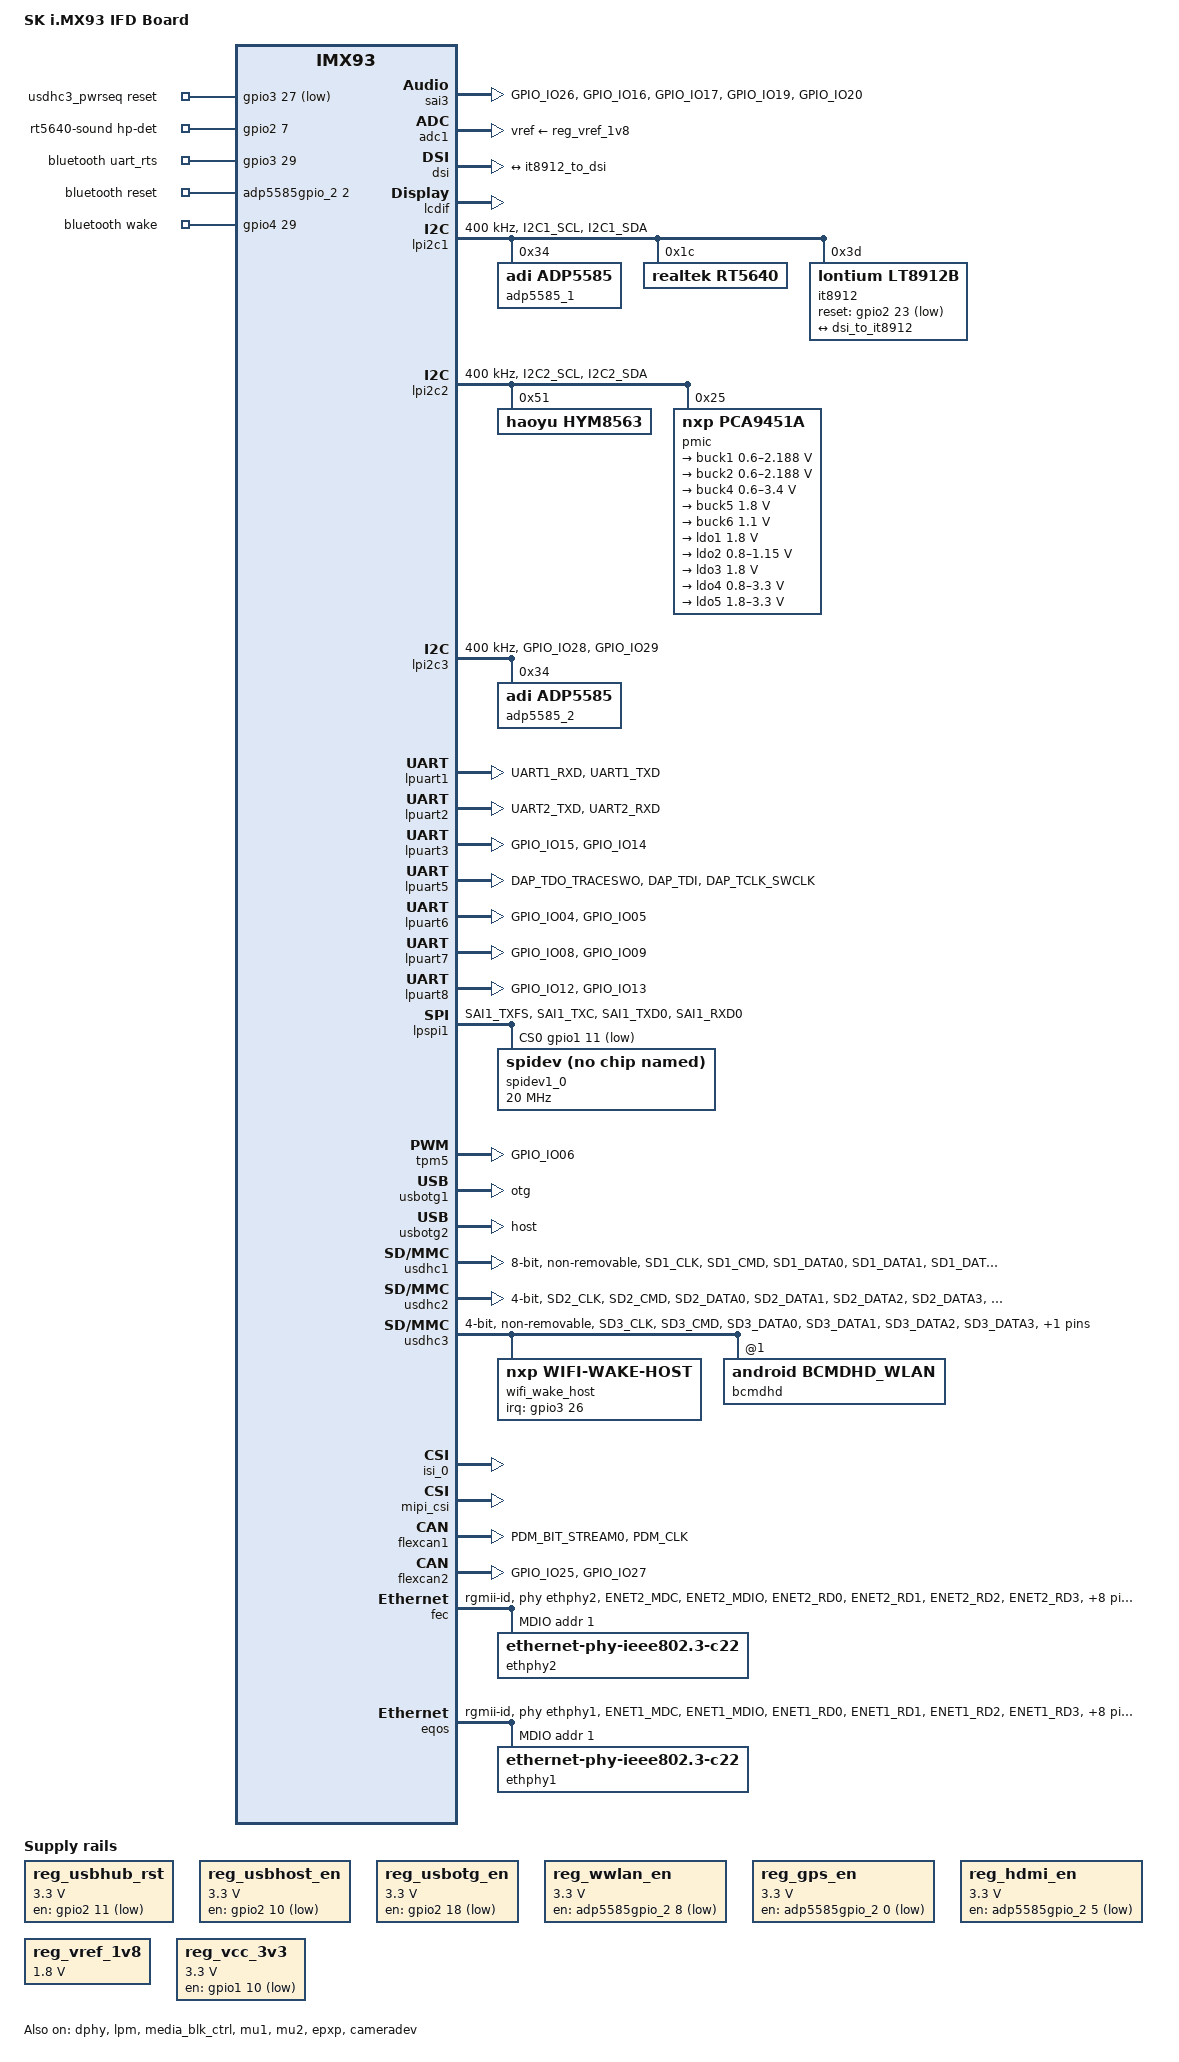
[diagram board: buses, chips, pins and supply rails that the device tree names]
/dts-v1/;

#include <dt-bindings/usb/pd.h>
#include "imx93.dtsi"

&ele_mu {
    memory-region = <&ele_reserved>;
};

/ {
    model = "SK i.MX93 IFD Board";
    compatible = "sk,imx93", "fsl,imx93";

    chosen {
        stdout-path = &lpuart1;
    };
    
    reserved-memory {
        #address-cells = <2>;
        #size-cells = <2>;
        ranges;

        linux,cma {
            compatible = "shared-dma-pool";
            reusable;
            alloc-ranges = <0 0x80000000 0 0x40000000>;
            size = <0 0x10000000>;
            linux,cma-default;
        };

        ethosu_mem: ethosu_region@C0000000 {
            compatible = "shared-dma-pool";
            reusable;
            reg = <0x0 0xC0000000 0x0 0x10000000>;
        };

        vdev0vring0: vdev0vring0@a4000000 {
            reg = <0 0xa4000000 0 0x8000>;
            no-map;
        };

        vdev0vring1: vdev0vring1@a4008000 {
            reg = <0 0xa4008000 0 0x8000>;
            no-map;
        };

        vdev1vring0: vdev1vring0@a4000000 {
            reg = <0 0xa4010000 0 0x8000>;
            no-map;
        };

        vdev1vring1: vdev1vring1@a4018000 {
            reg = <0 0xa4018000 0 0x8000>;
            no-map;
        };

        rsc_table: rsc-table@2021e000 {
            reg = <0 0x2021e000 0 0x1000>;
            no-map;
        };

        vdevbuffer: vdevbuffer@a4020000 {
            compatible = "shared-dma-pool";
            reg = <0 0xa4020000 0 0x100000>;
            no-map;
        };

        ele_reserved: ele-reserved@a4120000 {
            compatible = "shared-dma-pool";
            reg = <0 0xa4120000 0 0x100000>;
            no-map;
        };
    };

    cm33: imx93-cm33 {
        compatible = "fsl,imx93-cm33";
        mbox-names = "tx", "rx", "rxdb";
        mboxes = <&mu1 0 1
              &mu1 1 1
              &mu1 3 1>;
        memory-region = <&vdevbuffer>, <&vdev0vring0>, <&vdev0vring1>,
                <&vdev1vring0>, <&vdev1vring1>, <&rsc_table>;
        fsl,startup-delay-ms = <500>;
    };

    ethosu {
        compatible = "arm,ethosu";
        fsl,cm33-proc = <&cm33>;
        memory-region = <&ethosu_mem>;
        power-domains = <&mlmix>;
    };

    reg_usbhub_rst: regulator-usbhub-rst {
        compatible = "regulator-fixed";
		regulator-name = "reg_usbhub_rst";
		regulator-min-microvolt = <3300000>;
		regulator-max-microvolt = <3300000>;
		gpio = <&gpio2 11 GPIO_ACTIVE_HIGH>;
    }

    reg_usbhost_en: regulator-usbhost-en {
        compatible = "regulator-fixed";
		regulator-name = "reg_usbhost_en";
		regulator-min-microvolt = <3300000>;
		regulator-max-microvolt = <3300000>;
		gpio = <&gpio2 10 GPIO_ACTIVE_HIGH>;
    }

    reg_usbotg_en: regulator-usbotg-en {
        compatible = "regulator-fixed";
		regulator-name = "reg_usbotg_en";
		regulator-min-microvolt = <3300000>;
		regulator-max-microvolt = <3300000>;
		gpio = <&gpio2 18 GPIO_ACTIVE_HIGH>;
    }

    reg_wwlan_en: regulator-wwlan-en {
        compatible = "regulator-fixed";
		regulator-name = "reg_wwlan_en";
		regulator-min-microvolt = <3300000>;
		regulator-max-microvolt = <3300000>;
		gpio = <&adp5585gpio_2 8 GPIO_ACTIVE_HIGH>;
    }

    reg_gps_en: regulator-gps-en {
        compatible = "regulator-fixed";
		regulator-name = "reg_gps_en";
		regulator-min-microvolt = <3300000>;
		regulator-max-microvolt = <3300000>;
		gpio = <&adp5585gpio_2 0 GPIO_ACTIVE_HIGH>;
    }

    reg_hdmi_en: regulator-hdmi-en {
        compatible = "regulator-fixed";
		regulator-name = "reg_hdmi_en";
		regulator-min-microvolt = <3300000>;
		regulator-max-microvolt = <3300000>;
		gpio = <&adp5585gpio_2 5 GPIO_ACTIVE_HIGH>;
    }

    reg_vref_1v8: regulator-adc-vref {
        compatible = "regulator-fixed";
        regulator-name = "vref_1v8";
        regulator-min-microvolt = <1800000>;
        regulator-max-microvolt = <1800000>;
    };

    reg_vcc_3v3: regulator-vcc-3v3 {
        compatible = "regulator-fixed";
		regulator-name = "reg_vcc_3v3";
		regulator-min-microvolt = <3300000>;
		regulator-max-microvolt = <3300000>;
		gpio = <&gpio1 10 GPIO_ACTIVE_HIGH>;
    }

    usdhc3_pwrseq: usdhc3_pwrseq {
        status = "okay";
        compatible = "mmc-pwrseq-simple";
        pinctrl-names = "default";
        pinctrl-0 = <&pinctrl_wifi_reg_on>;
        reset-gpios = <&gpio3 27 GPIO_ACTIVE_LOW>;
        clocks = <&hym8563>;
        clock-names = "ext_clock";
    };

    rt5640-sound {
        compatible = "simple-audio-card";
        simple-audio-card,format = "i2s";
        simple-audio-card,name = "rt5640-codec";
        simple-audio-card,mclk-fs = <256>;
        simple-audio-card,widgets =
            "Microphone", "Mic Jack",
            "Headphone", "Headphone Jack",
            "Speaker", "Speaker";
        simple-audio-card,routing =
            "Mic Jack", "MICBIAS1",
            "IN1P", "Mic Jack",
            "Headphone Jack", "HPOL",
            "Headphone Jack", "HPOR",
            "Speaker", "SPOLP",
            "Speaker", "SPOLN",
            "Speaker", "SPORP",
            "Speaker", "SPORN";
        pinctrl-names = "default";
        pinctrl-0 = <&pinctrl_rt5640_hp_det>;
        simple-audio-card,hp-det-gpio = <&gpio2 7 GPIO_ACTIVE_HIGH>;
        simple-audio-card,cpu {
            sound-dai = <&sai3>;
        };
        simple-audio-card,codec {
            sound-dai = <&rt5640>;
        };
    };

    sound-micfil {
        compatible = "fsl,imx-audio-card";
        model = "micfil-audio";
        pri-dai-link {
            link-name = "micfil hifi";
            format = "i2s";
            cpu {
                sound-dai = <&micfil>;
            };
        };
    };    

    bt_sco_codec: bt_sco_codec {
        status = "disabled";
        #sound-dai-cells = <1>;
        compatible = "linux,bt-sco";
    };

    sound-bt-sco {
        status="disabled";
        compatible = "simple-audio-card";
        simple-audio-card,name = "bt-sco-audio";
        simple-audio-card,format = "dsp_a";
        simple-audio-card,bitclock-inversion;
        simple-audio-card,frame-master = <&btcpu>;
        simple-audio-card,bitclock-master = <&btcpu>;

        btcpu: simple-audio-card,cpu {
            sound-dai = <&sai1>;
            dai-tdm-slot-num = <2>;
            dai-tdm-slot-width = <16>;
        };

        simple-audio-card,codec {
            sound-dai = <&bt_sco_codec 1>;
        };
    };

    sound-xcvr {
        compatible = "fsl,imx-audio-card";
        model = "imx-audio-xcvr";
        pri-dai-link {
            link-name = "XCVR PCM";
            cpu {
                sound-dai = <&xcvr>;
            };
        };
    };

    bluetooth: bluetooth {
        compatible = "bluetooth-platdata";
        pinctrl-names = "default", "rts_gpio";
        pinctrl-0 = <&pinctrl_uart5_rts>, <&pinctrl_rts_gpio>;
        pinctrl-1 = <&pinctrl_bt_gpios>;
        uart_rts_gpios = <&gpio3 29 GPIO_ACTIVE_HIGH>;
        BT,reset_gpio = <&adp5585gpio_2 2 GPIO_ACTIVE_HIGH>;
        BT,wake_gpio = <&gpio4 29 GPIO_ACTIVE_HIGH>;
        //BT,wake_host_irq = <&gpio2 10 GPIO_ACTIVE_HIGH>;
        status = "okay";
    };
};

//disabled default soc rtc
&bbnsm_rtc {
    status = "disabled";
};

&sai1 {
    #sound-dai-cells = <0>;
    pinctrl-names = "default";
    pinctrl-0 = <&pinctrl_sai1>;
    assigned-clocks = <&clk IMX93_CLK_SAI1>;
    assigned-clock-parents = <&clk IMX93_CLK_AUDIO_PLL>;
    assigned-clock-rates = <12288000>;
    status = "disabled";
};

&sai3 {
    assigned-clocks = <&clk IMX93_CLK_SAI3>;
    assigned-clock-parents = <&clk IMX93_CLK_AUDIO_PLL>;
    assigned-clock-rates = <12288000>;
    fsl,sai-mclk-direction-output;
    status = "okay";

    #sound-dai-cells = <0>;
    pinctrl-names = "default";
    pinctrl-0 = <&pinctrl_sai3>;
};

&micfil {
    #sound-dai-cells = <0>;
    pinctrl-names = "default";
    pinctrl-0 = <&pinctrl_pdm>;
    assigned-clocks = <&clk IMX93_CLK_PDM>;
    assigned-clock-parents = <&clk IMX93_CLK_AUDIO_PLL>;
    assigned-clock-rates = <49152000>;
    status = "disabled";
};

&xcvr {
    #sound-dai-cells = <0>;
    pinctrl-names = "default";
    pinctrl-0 = <&pinctrl_spdif>;
    clocks = <&clk IMX93_CLK_BUS_WAKEUP>,
        <&clk IMX93_CLK_SPDIF_GATE>,
        <&clk IMX93_CLK_DUMMY>,
        <&clk IMX93_CLK_AUD_XCVR_GATE>,
        <&clk IMX93_CLK_AUDIO_PLL>;
    clock-names = "ipg", "phy", "spba", "pll_ipg", "pll8k";
    assigned-clocks = <&clk IMX93_CLK_SPDIF>,
             <&clk IMX93_CLK_AUDIO_XCVR>;
    assigned-clock-parents = <&clk IMX93_CLK_AUDIO_PLL>,
             <&clk IMX93_CLK_SYS_PLL_PFD1_DIV2>;
    assigned-clock-rates = <12288000>, <200000000>;
    status = "disabled";
};

&adc1 {
    vref-supply = <&reg_vref_1v8>;
    status = "okay";
};

&dphy {
    status = "okay";
};

&dsi {
	status = "okay";

	ports {
		port@1 {
			reg = <1>;

			dsi_to_it8912: endpoint {
                compatible = "hdmi-connector";
				remote-endpoint = <&it8912_to_dsi>;
			};
		};
	};
};

&lcdif {
    status = "okay";
    assigned-clock-rates = <445333333>, <148444444>, <400000000>, <133333333>;
};

&lpm {
    soc-supply = <&buck1>;
    status = "okay";
};

&lpi2c1 {
    #address-cells = <1>;
    #size-cells = <0>;
    clock-frequency = <400000>;
    pinctrl-names = "default", "sleep";
    pinctrl-0 = <&pinctrl_lpi2c1>;
    pinctrl-1 = <&pinctrl_lpi2c1>;
    status = "okay";

    //U24
    adp5585_1: mfd1@34 {
        compatible = "adi,adp5585";
        reg = <0x34>;
        status = "okay";

        adp5585gpio_1: gpio1@34 {
            compatible = "adp5585-gpio";
            gpio-controller;
            #gpio-cells = <2>;
        };
        
        adp5585pwm_1: pwm1@34 {
            compatible = "adp5585-pwm";
            #pwm-cells = <3>;
        };
    };

    rt5640: rt5640@1c {
        #sound-dai-cells = <0>;
        compatible = "realtek,rt5640";
        reg = <0x1c>;
        clocks = <&clk IMX93_CLK_SAI3_GATE>;
        clock-names = "mclk";
        realtek,in1-differential;
        status = "okay";
    };

    it8912: hdmi@3d {
		compatible = "lontium,lt8912b";
		reg = <0x3d>;
        reset-gpio = <&gpio2 23 GPIO_ACTIVE_LOW>;
		status = "okay";

		port {
			it8912_to_dsi: endpoint {
                data-lanes = <4>;
				remote-endpoint = <&dsi_to_it8912>;
			};
		};
	};
};

&lpi2c2 {
    #address-cells = <1>;
    #size-cells = <0>;
    clock-frequency = <400000>;
    pinctrl-names = "default", "sleep";
    pinctrl-0 = <&pinctrl_lpi2c2>;
    pinctrl-1 = <&pinctrl_lpi2c2>;
    status = "okay";

    hym8563:rtc-hym8563@51 {
        status = "okay";
        compatible = "haoyu,hym8563";
        reg = <0x51>;
        #clock-cells = <0>;
        clock-output-names = "hym8563-out32k";
    };

    pmic:pmic@25 {
        compatible = "nxp,pca9451a";
        reg = <0x25>;
        
        //not need irq config
        /delete-property/ interrupt-parent;
        /delete-property/ interrupts;

        regulators {
            buck1: BUCK1 {
                regulator-name = "BUCK1";
                regulator-min-microvolt = <600000>;
                regulator-max-microvolt = <2187500>;
                regulator-boot-on;
                regulator-always-on;
                regulator-ramp-delay = <3125>;
            };

            buck2: BUCK2 {
                regulator-name = "BUCK2";
                regulator-min-microvolt = <600000>;
                regulator-max-microvolt = <2187500>;
                regulator-boot-on;
                regulator-always-on;
                regulator-ramp-delay = <3125>;
            };

            buck4: BUCK4{
                regulator-name = "BUCK4";
                regulator-min-microvolt = <600000>;
                regulator-max-microvolt = <3400000>;
                regulator-boot-on;
                regulator-always-on;
            };

            buck5: BUCK5{
                regulator-name = "BUCK5";
                regulator-min-microvolt = <1800000>;
                regulator-max-microvolt = <1800000>;
                regulator-boot-on;
                regulator-always-on;
            };

            buck6: BUCK6 {
                regulator-name = "BUCK6";
                regulator-min-microvolt = <1100000>;
                regulator-max-microvolt = <1100000>;
                regulator-boot-on;
                regulator-always-on;
            };

            ldo1: LDO1 {
                regulator-name = "LDO1";
                regulator-min-microvolt = <1800000>;
                regulator-max-microvolt = <1800000>;
                regulator-boot-on;
                regulator-always-on;
            };

            ldo2: LDO2 {
                regulator-name = "LDO2";
                regulator-min-microvolt = <800000>;
                regulator-max-microvolt = <1150000>;
                regulator-boot-on;
                regulator-always-on;
            };

            ldo3: LDO3 {
                regulator-name = "LDO3";
                regulator-min-microvolt = <1800000>;
                regulator-max-microvolt = <1800000>;
                regulator-boot-on;
                regulator-always-on;
            };

            ldo4: LDO4 {
                regulator-name = "LDO4";
                regulator-min-microvolt = <800000>;
                regulator-max-microvolt = <3300000>;
                regulator-boot-on;
                regulator-always-on;
            };

            ldo5: LDO5 {
                regulator-name = "LDO5";
                regulator-min-microvolt = <1800000>;
                regulator-max-microvolt = <3300000>;
                regulator-boot-on;
                regulator-always-on;
            };
        };
    };
};

&lpi2c3 {
    #address-cells = <1>;
    #size-cells = <0>;
    clock-frequency = <400000>;
    pinctrl-names = "default", "sleep";
    pinctrl-0 = <&pinctrl_lpi2c3>;
    pinctrl-1 = <&pinctrl_lpi2c3>;
    status = "okay";

    //U25
    adp5585_2: mfd2@34 {
        compatible = "adi,adp5585";
        reg = <0x34>;
        status = "okay";

        adp5585gpio_2: gpio2@34 {
            compatible = "adp5585-gpio";
            gpio-controller;
            #gpio-cells = <2>;
        };
        
        adp5585pwm_2: pwm2@34 {
            compatible = "adp5585-pwm";
            #pwm-cells = <3>;
        };
    };
};

//debug
&lpuart1 { /* console */
    pinctrl-names = "default";
    pinctrl-0 = <&pinctrl_uart1>;
    status = "okay";
};

//ttl
&lpuart2 {
	pinctrl-names = "default";
	pinctrl-0 = <&pinctrl_uart2>;
	status = "okay";
};

//ttl
&lpuart3 {
	pinctrl-names = "default";
	pinctrl-0 = <&pinctrl_uart3>;
	status = "okay";
};

&lpuart5 {
    pinctrl-names = "default";
    pinctrl-0 = <&pinctrl_uart5>;
    status = "okay";
};

//rs232
&lpuart6 {
	pinctrl-names = "default";
	pinctrl-0 = <&pinctrl_uart6>;
	status = "okay";
};

//rs232
&lpuart7 {
	pinctrl-names = "default";
	pinctrl-0 = <&pinctrl_uart7>;
	status = "okay";
};

//gps
&lpuart8 {
	pinctrl-names = "default";
	pinctrl-0 = <&pinctrl_uart8>;
	status = "okay";
};

&lpspi1 {
    status = "okay";
    pinctrl-names = "default";
    pinctrl-0 = <&pinctrl_lpspi1>;
    cs-gpios = <&gpio1 11 GPIO_ACTIVE_LOW>;

    spidev1_0: spidev1@0 {
        reg = <0>;
        status = "okay";
        compatible = "rohm,dh2228fv";
        spi-max-frequency = <20000000>;
    };
};

&media_blk_ctrl {
    status = "okay";
};

&tpm5 {
    pinctrl-names = "default";
    pinctrl-0 = <&pinctrl_pwm5>;
    status = "okay";
};

&mu1 {
    status = "okay";
};

&mu2 {
    status = "okay";
};

&usbotg1 {
    // dr_mode = "host";
    dr_mode = "otg";
    hnp-disable;
    srp-disable;
    adp-disable;
    usb-role-switch;
    disable-over-current;
    samsung,picophy-pre-emp-curr-control = <3>;
    samsung,picophy-dc-vol-level-adjust = <7>;
    status = "okay";
};

&usbotg2 {
    dr_mode = "host";
    // dr_mode = "otg";
    hnp-disable;
    srp-disable;
    adp-disable;
    usb-role-switch;
    disable-over-current;
    samsung,picophy-pre-emp-curr-control = <3>;
    samsung,picophy-dc-vol-level-adjust = <7>;
    status = "okay";
};

&usdhc1 {
    pinctrl-names = "default", "state_100mhz", "state_200mhz";
    pinctrl-0 = <&pinctrl_usdhc1>;
    pinctrl-1 = <&pinctrl_usdhc1_100mhz>;
    pinctrl-2 = <&pinctrl_usdhc1_200mhz>;
    bus-width = <8>;
    non-removable;
    status = "okay";
};

&usdhc2 {
    pinctrl-names = "default", "state_100mhz", "state_200mhz";
    pinctrl-0 = <&pinctrl_usdhc2>, <&pinctrl_usdhc2_gpio>;
    pinctrl-1 = <&pinctrl_usdhc2_100mhz>, <&pinctrl_usdhc2_gpio>;
    pinctrl-2 = <&pinctrl_usdhc2_100mhz>, <&pinctrl_usdhc2_gpio>;
    cd-gpios = <&gpio3 00 GPIO_ACTIVE_LOW>;
    bus-width = <4>;
    status = "okay";
    no-sdio;
    no-mmc;
};

&usdhc3 {
    pinctrl-names = "default", "state_100mhz", "state_200mhz";
    pinctrl-0 = <&pinctrl_usdhc3>, <&pinctrl_usdhc3_wlan>;
    pinctrl-1 = <&pinctrl_usdhc3>, <&pinctrl_usdhc3_wlan>;
    pinctrl-2 = <&pinctrl_usdhc3>, <&pinctrl_usdhc3_wlan>;
    mmc-pwrseq = <&usdhc3_pwrseq>;
    bus-width = <4>;
    keep-power-in-suspend;
    non-removable;
    wakeup-source;
    fsl,sdio-async-interrupt-enabled;
    supports-sdio;
    disable-wp;
    cap-sdio-irq;
    wifi-host;
    no-1-8-v;
    pm-ignore-notify;
    sdhci,auto-cmd12;
    enable-sdio-wakeup;
    cap-sd-highspeed;
    cap-mmc-highspeed;
    status = "okay";

    wifi_wake_host {
        compatible = "nxp,wifi-wake-host";
        interrupt-parent = <&gpio3>;
        interrupts = <26 IRQ_TYPE_LEVEL_LOW>;
        interrupt-names = "host-wake";
    };
    
    bcmdhd: wifi@1 {
        reg = <1>;
        compatible = "android,bcmdhd_wlan";
    };
};

&epxp {
    status = "okay";
};

&cameradev {
    status = "okay";
};

&isi_0 {
    status = "okay";

    cap_device {
        status = "okay";
    };
};

&mipi_csi {
    #address-cells = <1>;
    #size-cells = <0>;
    status = "okay";
};

&flexcan1 {
	pinctrl-names = "default";
	pinctrl-0 = <&pinctrl_flexcan1>;
	status = "okay";
};

&flexcan2 {
	pinctrl-names = "default";
	pinctrl-0 = <&pinctrl_flexcan2>;
	status = "okay";
};

&fec {
    pinctrl-names = "default";
    pinctrl-0 = <&pinctrl_eth_fec>;
    phy-mode = "rgmii-id";
    phy-handle = <&ethphy2>;
    fsl,magic-packet;
    status = "okay";

    mdio {
        #address-cells = <1>;
        #size-cells = <0>;
        clock-frequency = <5000000>;

        ethphy2: ethernet-phy@2 {
            compatible = "ethernet-phy-ieee802.3-c22";
            reg = <1>;
            eee-broken-1000t;
        };
    };
};

&eqos {
    pinctrl-names = "default";
    pinctrl-0 = <&pinctrl_eth_qos>;
    phy-mode = "rgmii-id";
    phy-handle = <&ethphy1>;
    snps,force_thresh_dma_mode;
    snps,mtl-tx-config = <&mtl_tx_setup>;
    snps,mtl-rx-config = <&mtl_rx_setup>;
    status = "okay";

    mdio {
        compatible = "snps,dwmac-mdio";
        #address-cells = <1>;
        #size-cells = <0>;
        clock-frequency = <5000000>;

        ethphy1: ethernet-phy@1 {
            compatible = "ethernet-phy-ieee802.3-c22";
            reg = <1>;
            eee-broken-1000t;
        };
    };

    mtl_tx_setup: tx-queues-config {
        snps,tx-queues-to-use = <5>;
        snps,tx-sched-sp;
        queue0 {
            snps,dcb-algorithm;
            snps,priority = <0x1>;
        };
        queue1 {
            snps,dcb-algorithm;
            snps,priority = <0x2>;
        };
        queue2 {
            snps,dcb-algorithm;
            snps,priority = <0x4>;
        };
        queue3 {
            snps,dcb-algorithm;
            snps,priority = <0x8>;
        };
        queue4 {
            snps,dcb-algorithm;
            snps,priority = <0xf0>;
        };
    };

    mtl_rx_setup: rx-queues-config {
        snps,rx-queues-to-use = <5>;
        snps,rx-sched-sp;
        queue0 {
            snps,dcb-algorithm;
            snps,priority = <0x1>;
            snps,map-to-dma-channel = <0>;
        };
        queue1 {
            snps,dcb-algorithm;
            snps,priority = <0x2>;
            snps,map-to-dma-channel = <1>;
        };
        queue2 {
            snps,dcb-algorithm;
            snps,priority = <0x4>;
            snps,map-to-dma-channel = <2>;
        };
        queue3 {
            snps,dcb-algorithm;
            snps,priority = <0x8>;
            snps,map-to-dma-channel = <3>;
        };
        queue4 {
            snps,dcb-algorithm;
            snps,priority = <0xf0>;
            snps,map-to-dma-channel = <4>;
        };
    };
};

&iomuxc {
    pinctrl_pwm3: pinctrl-pwm3 {
        fsl,pins = <
            MX93_PAD_GPIO_IO24__TPM3_CH3            0x27e
        >;
    };
    
    pinctrl_pwm5: pinctrl-pwm5 {
        fsl,pins = <
            MX93_PAD_GPIO_IO06__TPM5_CH0            0x27e
        >;
    };
    
    pinctrl_lpi2c1: lpi2c1grp {
        fsl,pins = <
            MX93_PAD_I2C1_SCL__LPI2C1_SCL            0x40000b9e
            MX93_PAD_I2C1_SDA__LPI2C1_SDA            0x40000b9e
        >;
    };

    pinctrl_lpi2c2: lpi2c2grp {
        fsl,pins = <
            MX93_PAD_I2C2_SCL__LPI2C2_SCL            0x40000b9e
            MX93_PAD_I2C2_SDA__LPI2C2_SDA            0x40000b9e
        >;
    };

    pinctrl_lpi2c3: lpi2c3grp {
        fsl,pins = <
            MX93_PAD_GPIO_IO28__LPI2C3_SDA            0x40000b9e
            MX93_PAD_GPIO_IO29__LPI2C3_SCL            0x40000b9e
        >;
    };

    pinctrl_uart1: uart1grp {
        fsl,pins = <
            MX93_PAD_UART1_RXD__LPUART1_RX            0x31e
            MX93_PAD_UART1_TXD__LPUART1_TX            0x31e
        >;
    };

    pinctrl_uart2: uart2grp {
        fsl,pins = <
            MX93_PAD_UART2_TXD__LPUART2_TX          0x31e
            MX93_PAD_UART2_RXD__LPUART2_RX          0x31e
        >;
    };

    pinctrl_uart3: uart3grp {
        fsl,pins = <
            MX93_PAD_GPIO_IO15__LPUART3_RX          0x31e
            MX93_PAD_GPIO_IO14__LPUART3_TX          0x31e
        >;
    };

    pinctrl_uart5: uart5grp {
        fsl,pins = <
            MX93_PAD_DAP_TDO_TRACESWO__LPUART5_TX    0x31e
            MX93_PAD_DAP_TDI__LPUART5_RX        0x31e
            // MX93_PAD_DAP_TMS_SWDIO__LPUART5_RTS_B    0x31e
            MX93_PAD_DAP_TCLK_SWCLK__LPUART5_CTS_B    0x31e
        >;
    };

    pinctrl_uart6: uart6grp {
        fsl,pins = <
            MX93_PAD_GPIO_IO04__LPUART6_TX          0x31e
            MX93_PAD_GPIO_IO05__LPUART6_RX          0x31e
        >;
    };

    pinctrl_uart7: uart7grp {
        fsl,pins = <
            MX93_PAD_GPIO_IO08__LPUART7_TX          0x31e
            MX93_PAD_GPIO_IO09__LPUART7_RX          0x31e
        >;
    };

    pinctrl_uart8: uart8grp {
        fsl,pins = <
            MX93_PAD_GPIO_IO12__LPUART8_TX          0x31e
            MX93_PAD_GPIO_IO13__LPUART8_RX          0x31e
        >;
    };

    pinctrl_lpspi1: lpspi1grp {
        fsl,pins = <
            MX93_PAD_SAI1_TXFS__GPIO1_IO11          0x31e
            MX93_PAD_SAI1_TXC__LPSPI1_SIN           0x31e
            MX93_PAD_SAI1_TXD0__LPSPI1_SCK          0x31e
            MX93_PAD_SAI1_RXD0__LPSPI1_SOUT         0x31e
        >;
    };


    /* need to config the SION for data and cmd pad, refer to ERR052021 */
    pinctrl_usdhc1: usdhc1grp {
        fsl,pins = <
            MX93_PAD_SD1_CLK__USDHC1_CLK        0x1582
            MX93_PAD_SD1_CMD__USDHC1_CMD        0x40001382
            MX93_PAD_SD1_DATA0__USDHC1_DATA0    0x40001382
            MX93_PAD_SD1_DATA1__USDHC1_DATA1    0x40001382
            MX93_PAD_SD1_DATA2__USDHC1_DATA2    0x40001382
            MX93_PAD_SD1_DATA3__USDHC1_DATA3    0x40001382
            MX93_PAD_SD1_DATA4__USDHC1_DATA4    0x40001382
            MX93_PAD_SD1_DATA5__USDHC1_DATA5    0x40001382
            MX93_PAD_SD1_DATA6__USDHC1_DATA6    0x40001382
            MX93_PAD_SD1_DATA7__USDHC1_DATA7    0x40001382
            MX93_PAD_SD1_STROBE__USDHC1_STROBE    0x1582
        >;
    };

    /* need to config the SION for data and cmd pad, refer to ERR052021 */
    pinctrl_usdhc1_100mhz: usdhc1-100mhzgrp {
        fsl,pins = <
            MX93_PAD_SD1_CLK__USDHC1_CLK        0x158e
            MX93_PAD_SD1_CMD__USDHC1_CMD        0x4000138e
            MX93_PAD_SD1_DATA0__USDHC1_DATA0    0x4000138e
            MX93_PAD_SD1_DATA1__USDHC1_DATA1    0x4000138e
            MX93_PAD_SD1_DATA2__USDHC1_DATA2    0x4000138e
            MX93_PAD_SD1_DATA3__USDHC1_DATA3    0x4000138e
            MX93_PAD_SD1_DATA4__USDHC1_DATA4    0x4000138e
            MX93_PAD_SD1_DATA5__USDHC1_DATA5    0x4000138e
            MX93_PAD_SD1_DATA6__USDHC1_DATA6    0x4000138e
            MX93_PAD_SD1_DATA7__USDHC1_DATA7    0x4000138e
            MX93_PAD_SD1_STROBE__USDHC1_STROBE    0x158e
        >;
    };

    /* need to config the SION for data and cmd pad, refer to ERR052021 */
    pinctrl_usdhc1_200mhz: usdhc1-200mhzgrp {
        fsl,pins = <
            MX93_PAD_SD1_CLK__USDHC1_CLK        0x15fe
            MX93_PAD_SD1_CMD__USDHC1_CMD        0x400013fe
            MX93_PAD_SD1_DATA0__USDHC1_DATA0    0x400013fe
            MX93_PAD_SD1_DATA1__USDHC1_DATA1    0x400013fe
            MX93_PAD_SD1_DATA2__USDHC1_DATA2    0x400013fe
            MX93_PAD_SD1_DATA3__USDHC1_DATA3    0x400013fe
            MX93_PAD_SD1_DATA4__USDHC1_DATA4    0x400013fe
            MX93_PAD_SD1_DATA5__USDHC1_DATA5    0x400013fe
            MX93_PAD_SD1_DATA6__USDHC1_DATA6    0x400013fe
            MX93_PAD_SD1_DATA7__USDHC1_DATA7    0x400013fe
            MX93_PAD_SD1_STROBE__USDHC1_STROBE    0x15fe
        >;
    };

    pinctrl_usdhc2_gpio: usdhc2gpiogrp {
        fsl,pins = <
            MX93_PAD_SD2_CD_B__GPIO3_IO00        0x31e
        >;
    };

    /* need to config the SION for data and cmd pad, refer to ERR052021 */
    pinctrl_usdhc2: usdhc2grp {
        fsl,pins = <
            MX93_PAD_SD2_CLK__USDHC2_CLK        0x1582
            MX93_PAD_SD2_CMD__USDHC2_CMD        0x40001382
            MX93_PAD_SD2_DATA0__USDHC2_DATA0    0x40001382
            MX93_PAD_SD2_DATA1__USDHC2_DATA1    0x40001382
            MX93_PAD_SD2_DATA2__USDHC2_DATA2    0x40001382
            MX93_PAD_SD2_DATA3__USDHC2_DATA3    0x40001382
            MX93_PAD_SD2_VSELECT__USDHC2_VSELECT    0x51e
        >;
    };

    /* need to config the SION for data and cmd pad, refer to ERR052021 */
    pinctrl_usdhc2_100mhz: usdhc2-100mhzgrp {
        fsl,pins = <
            MX93_PAD_SD2_CLK__USDHC2_CLK        0x158e
            MX93_PAD_SD2_CMD__USDHC2_CMD        0x4000138e
            MX93_PAD_SD2_DATA0__USDHC2_DATA0    0x4000138e
            MX93_PAD_SD2_DATA1__USDHC2_DATA1    0x4000138e
            MX93_PAD_SD2_DATA2__USDHC2_DATA2    0x4000138e
            MX93_PAD_SD2_DATA3__USDHC2_DATA3    0x4000138e
            MX93_PAD_SD2_VSELECT__USDHC2_VSELECT    0x51e
        >;
    };

    /* need to config the SION for data and cmd pad, refer to ERR052021 */
    pinctrl_usdhc2_200mhz: usdhc2-200mhzgrp {
        fsl,pins = <
            MX93_PAD_SD2_CLK__USDHC2_CLK        0x15fe
            MX93_PAD_SD2_CMD__USDHC2_CMD        0x400013fe
            MX93_PAD_SD2_DATA0__USDHC2_DATA0    0x400013fe
            MX93_PAD_SD2_DATA1__USDHC2_DATA1    0x400013fe
            MX93_PAD_SD2_DATA2__USDHC2_DATA2    0x400013fe
            MX93_PAD_SD2_DATA3__USDHC2_DATA3    0x400013fe
            MX93_PAD_SD2_VSELECT__USDHC2_VSELECT    0x51e
        >;
    };

    /* need to config the SION for data and cmd pad, refer to ERR052021 */
    pinctrl_usdhc3: usdhc3grp {
        fsl,pins = <
            MX93_PAD_SD3_CLK__USDHC3_CLK        0x1582
            MX93_PAD_SD3_CMD__USDHC3_CMD        0x40001382
            MX93_PAD_SD3_DATA0__USDHC3_DATA0    0x40001382
            MX93_PAD_SD3_DATA1__USDHC3_DATA1    0x40001382
            MX93_PAD_SD3_DATA2__USDHC3_DATA2    0x40001382
            MX93_PAD_SD3_DATA3__USDHC3_DATA3    0x40001382
        >;
    };

    /* need to config the SION for data and cmd pad, refer to ERR052021 */
    pinctrl_usdhc3_100mhz: usdhc3-100mhzgrp {
        fsl,pins = <
            MX93_PAD_SD3_CLK__USDHC3_CLK        0x158e
            MX93_PAD_SD3_CMD__USDHC3_CMD        0x4000138e
            MX93_PAD_SD3_DATA0__USDHC3_DATA0    0x4000138e
            MX93_PAD_SD3_DATA1__USDHC3_DATA1    0x4000138e
            MX93_PAD_SD3_DATA2__USDHC3_DATA2    0x4000138e
            MX93_PAD_SD3_DATA3__USDHC3_DATA3    0x4000138e
        >;
    };

    /* need to config the SION for data and cmd pad, refer to ERR052021 */
    pinctrl_usdhc3_200mhz: usdhc3-200mhzgrp {
        fsl,pins = <
            MX93_PAD_SD3_CLK__USDHC3_CLK        0x15fe
            MX93_PAD_SD3_CMD__USDHC3_CMD        0x400013fe
            MX93_PAD_SD3_DATA0__USDHC3_DATA0    0x400013fe
            MX93_PAD_SD3_DATA1__USDHC3_DATA1    0x400013fe
            MX93_PAD_SD3_DATA2__USDHC3_DATA2    0x400013fe
            MX93_PAD_SD3_DATA3__USDHC3_DATA3    0x400013fe
        >;
    };

    pinctrl_sai1: sai1grp {
        fsl,pins = <
            MX93_PAD_SAI1_TXC__SAI1_TX_BCLK             0x31e
            MX93_PAD_SAI1_TXFS__SAI1_TX_SYNC            0x31e
            MX93_PAD_SAI1_TXD0__SAI1_TX_DATA00          0x31e
            MX93_PAD_SAI1_RXD0__SAI1_RX_DATA00          0x31e
        >;
    };

    pinctrl_sai3: sai3grp {
        fsl,pins = <
            MX93_PAD_GPIO_IO26__SAI3_TX_SYNC            0x31e
            MX93_PAD_GPIO_IO16__SAI3_TX_BCLK            0x31e
            MX93_PAD_GPIO_IO17__SAI3_MCLK               0x31e
            MX93_PAD_GPIO_IO19__SAI3_TX_DATA00          0x31e
            MX93_PAD_GPIO_IO20__SAI3_RX_DATA00          0x31e
        >;
    };

    pinctrl_pdm: pdmgrp {
        fsl,pins = <
            MX93_PAD_PDM_CLK__PDM_CLK            0x31e
            MX93_PAD_PDM_BIT_STREAM0__PDM_BIT_STREAM00    0x31e
            MX93_PAD_PDM_BIT_STREAM1__PDM_BIT_STREAM01    0x31e
        >;
    };

    pinctrl_spdif: spdifgrp {
        fsl,pins = <
            MX93_PAD_GPIO_IO22__SPDIF_IN        0x31e
            MX93_PAD_GPIO_IO23__SPDIF_OUT        0x31e
        >;
    };

    pinctrl_rt5640_hp_det: rt5640-hpdetgrp {
        fsl,pins = <
            MX93_PAD_GPIO_IO07__GPIO2_IO07              0x31e
        >;
    };

    pinctrl_wifi_reg_on: wifi-regongrp {
        fsl,pins = <
            MX93_PAD_CCM_CLKO2__GPIO3_IO27          0x31e
        >;
    };
    
    pinctrl_usdhc3_wlan: usdhc3wlangrp {
        fsl,pins = <
            MX93_PAD_CCM_CLKO1__GPIO3_IO26            0x31e
        >;
    };

    pinctrl_bt_gpios: bt-gpiosgrp {
        fsl,pins = <
            MX93_PAD_CCM_CLKO4__GPIO4_IO29          0x31e
        >;
    };
    
    pinctrl_rts_gpio: rts-gpiogrp {
        fsl,pins = <
            MX93_PAD_DAP_TMS_SWDIO__GPIO3_IO29      0x31e
        >;
    };
    
    pinctrl_uart5_rts: uart5_rtsgrp {
        fsl,pins = <
            MX93_PAD_DAP_TMS_SWDIO__LPUART5_RTS_B    0x31e
        >;
    };

    pinctrl_flexcan1: flexcan1grp {
        fsl,pins = <
            MX93_PAD_PDM_BIT_STREAM0__CAN1_RX       0x31e
            MX93_PAD_PDM_CLK__CAN1_TX               0x31e
        >;
    };

    pinctrl_flexcan2: flexcan2grp {
        fsl,pins = <
            MX93_PAD_GPIO_IO25__CAN2_TX    0x139e
            MX93_PAD_GPIO_IO27__CAN2_RX    0x139e
        >;
    };

    pinctrl_eth_fec: eth-fecgrp {
        fsl,pins = <
            MX93_PAD_ENET2_MDC__ENET1_MDC            0x57e
            MX93_PAD_ENET2_MDIO__ENET1_MDIO            0x57e
            MX93_PAD_ENET2_RD0__ENET1_RGMII_RD0        0x57e
            MX93_PAD_ENET2_RD1__ENET1_RGMII_RD1        0x57e
            MX93_PAD_ENET2_RD2__ENET1_RGMII_RD2        0x57e
            MX93_PAD_ENET2_RD3__ENET1_RGMII_RD3        0x57e
            MX93_PAD_ENET2_RXC__ENET1_RGMII_RXC        0x5fe
            MX93_PAD_ENET2_RX_CTL__ENET1_RGMII_RX_CTL    0x57e
            MX93_PAD_ENET2_TD0__ENET1_RGMII_TD0        0x57e
            MX93_PAD_ENET2_TD1__ENET1_RGMII_TD1        0x57e
            MX93_PAD_ENET2_TD2__ENET1_RGMII_TD2        0x57e
            MX93_PAD_ENET2_TD3__ENET1_RGMII_TD3        0x57e
            MX93_PAD_ENET2_TXC__ENET1_RGMII_TXC        0x5fe
            MX93_PAD_ENET2_TX_CTL__ENET1_RGMII_TX_CTL    0x57e
        >;
    };

    pinctrl_eth_qos: eth-qosgrp {
        fsl,pins = <
            MX93_PAD_ENET1_MDC__ENET_QOS_MDC            0x57e
            MX93_PAD_ENET1_MDIO__ENET_QOS_MDIO            0x57e
            MX93_PAD_ENET1_RD0__ENET_QOS_RGMII_RD0            0x57e
            MX93_PAD_ENET1_RD1__ENET_QOS_RGMII_RD1            0x57e
            MX93_PAD_ENET1_RD2__ENET_QOS_RGMII_RD2            0x57e
            MX93_PAD_ENET1_RD3__ENET_QOS_RGMII_RD3            0x57e
            MX93_PAD_ENET1_RXC__CCM_ENET_QOS_CLOCK_GENERATE_RX_CLK    0x5fe
            MX93_PAD_ENET1_RX_CTL__ENET_QOS_RGMII_RX_CTL        0x57e
            MX93_PAD_ENET1_TD0__ENET_QOS_RGMII_TD0            0x57e
            MX93_PAD_ENET1_TD1__ENET_QOS_RGMII_TD1            0x57e
            MX93_PAD_ENET1_TD2__ENET_QOS_RGMII_TD2            0x57e
            MX93_PAD_ENET1_TD3__ENET_QOS_RGMII_TD3            0x57e
            MX93_PAD_ENET1_TXC__CCM_ENET_QOS_CLOCK_GENERATE_TX_CLK    0x5fe
            MX93_PAD_ENET1_TX_CTL__ENET_QOS_RGMII_TX_CTL        0x57e
        >;
    };

};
